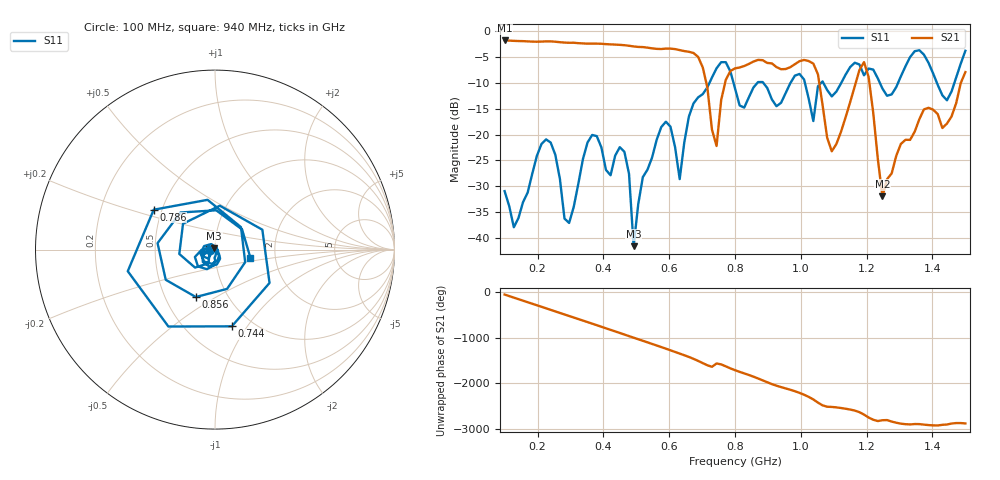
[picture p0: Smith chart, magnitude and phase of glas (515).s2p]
! NanoVNA-App
! Date: 2025-09-25 15:59:29
! Start: 100MHz Stop: 1,5GHz Points: 101
! S-Parameter data: F S11 S21 S12 S22
# Hz S RI R 50
!  Frequency  S11_Real  S11_Imag  S21_Real  S21_Imag  S12_Real  S12_Imag  S22_Real  S22_Imag
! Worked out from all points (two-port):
!   101 points, 100 MHz to 1.5 GHz, reference 50 ohm
!   highest |S21| = -1.80 dB at 100 MHz (marker M1); lowest = -32.0 dB at 1.248 GHz (marker M2)
!   |S21| within 3 dB of the highest: start of sweep to 684.5 MHz
!   lowest |S11| = -41.6 dB at 492 MHz (marker M3), VSWR 1.02, Z = 49.5 + j0.64 ohm
!   |S11| at or under -10 dB: start of sweep to 722.4 MHz; 795.5 MHz to 868 MHz (72.46 MHz wide, 8.71 % of centre); 886 MHz to 968.7 MHz (82.72 MHz wide, 8.92 % of centre) (the widest 3 of 7)
!   S12 and S22 are empty: the file has one direction only
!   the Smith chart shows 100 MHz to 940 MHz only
!   S11 on the Smith chart (normalised r, x): 100 MHz: 0.95, -0.01; 744 MHz: 0.81, -0.85; 786 MHz: 0.45, +0.24; 856 MHz: 0.71, -0.41; 940 MHz: 1.48, -0.14
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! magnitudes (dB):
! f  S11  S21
! 100 MHz  -30.9  -1.8
! 128 MHz  -37.9  -1.9
! 226 MHz  -20.9  -2.0
! 296 MHz  -37.1  -2.2
! 338 MHz  -24.7  -2.4
! 464 MHz  -23.3  -2.7
! 492 MHz  -41.6  -3.0
! 576 MHz  -18.5  -3.5
! 632 MHz  -28.6  -3.7
! 702 MHz  -12.2  -7.0
! 744 MHz  -7.2  -22.2
! 786 MHz  -7.8  -7.7
! 800 MHz  -11.0  -7.2
! 856 MHz  -10.9  -5.9
! 940 MHz  -13.9  -7.4
! 996 MHz  -8.3  -5.8
! 1.038 GHz  -17.4  -6.3
! 1.094 GHz  -12.6  -23.2
! 1.192 GHz  -8.5  -6.0
! 1.248 GHz  -11.1  -32.0
! 1.276 GHz  -12.2  -27.5
! 1.5 GHz  -3.8  -7.9
